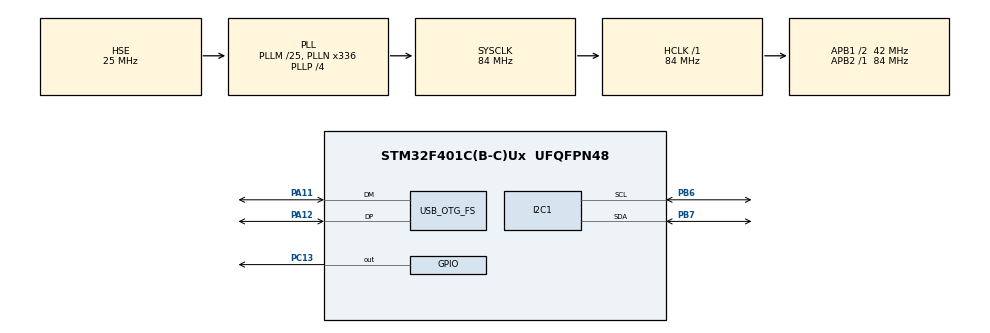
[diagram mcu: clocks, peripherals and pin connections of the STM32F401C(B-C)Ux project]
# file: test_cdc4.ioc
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I2C1.I2C_Mode=I2C_Fast
Mcu.Family=STM32F4
Mcu.Name=STM32F401C(B-C)Ux
Mcu.Package=UFQFPN48
NVIC.OTG_FS_IRQn=true\:0\:0\:false\:false\:true\:false\:true
NVIC.PriorityGroup=NVIC_PRIORITYGROUP_4
PA11.Mode=Device_Only
PA11.Signal=USB_OTG_FS_DM
PA12.Mode=Device_Only
PA12.Signal=USB_OTG_FS_DP
PB6.Mode=I2C
PB6.Signal=I2C1_SCL
PB7.Mode=I2C
PB7.Signal=I2C1_SDA
PC13-ANTI_TAMP.Signal=GPIO_Output
PH0\ -\ OSC_IN.Mode=HSE-External-Oscillator
PH0\ -\ OSC_IN.Signal=RCC_OSC_IN
PH1\ -\ OSC_OUT.Mode=HSE-External-Oscillator
PH1\ -\ OSC_OUT.Signal=RCC_OSC_OUT
ProjectManager.HeapSize=0x200
ProjectManager.StackSize=0x400
ProjectManager.TargetToolchain=STM32CubeIDE
RCC.48MHZClocksFreq_Value=48000000
RCC.AHBFreq_Value=84000000
RCC.APB1CLKDivider=RCC_HCLK_DIV2
RCC.APB1Freq_Value=42000000
RCC.APB1TimFreq_Value=84000000
RCC.APB2Freq_Value=84000000
RCC.APB2TimFreq_Value=84000000
RCC.CortexFreq_Value=84000000
RCC.HCLKFreq_Value=84000000
RCC.HSE_VALUE=25000000
RCC.HSI_VALUE=16000000
RCC.LSE_VALUE=32768
RCC.PLLM=25
RCC.PLLN=336
RCC.PLLP=RCC_PLLP_DIV4
RCC.PLLQ=7
RCC.SYSCLKFreq_VALUE=84000000
RCC.SYSCLKSource=RCC_SYSCLKSOURCE_PLLCLK
RCC.VCOOutputFreq_Value=336000000
USB_DEVICE.APP_RX_DATA_SIZE=64
USB_DEVICE.APP_TX_DATA_SIZE=64
USB_DEVICE.CLASS_NAME_FS=CDC
USB_DEVICE.VirtualMode=Cdc
USB_DEVICE.VirtualModeFS=Cdc_FS
USB_OTG_FS.VirtualMode=Device_Only
VP_USB_DEVICE_VS_USB_DEVICE_CDC_FS.Mode=CDC_FS
board=custom

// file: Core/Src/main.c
/* USER CODE BEGIN Header */
/**
  ******************************************************************************
  * @file           : main.c
  * @brief          : Main program body
  ******************************************************************************
  * @attention
  *
  * <h2><center>&copy; Copyright (c) 2020 STMicroelectronics.
  * All rights reserved.</center></h2>
  *
  * This software component is licensed by ST under BSD 3-Clause license,
  * the "License"; You may not use this file except in compliance with the
  * License. You may obtain a copy of the License at:
  *                        opensource.org/licenses/BSD-3-Clause
  *
  ******************************************************************************
  */
/* USER CODE END Header */
#include "main.h"
#include "usb_device.h"

/* USER CODE BEGIN Includes */
#include "OLED.h"
#include "terminal.h"
/* USER CODE END Includes */

I2C_HandleTypeDef hi2c1;

/* USER CODE BEGIN PV */
volatile uint8_t received = 0;
/* USER CODE END PV */

void SystemClock_Config(void);
static void MX_GPIO_Init(void);
static void MX_I2C1_Init(void);

int main(void)
{

  /* MCU Configuration--------------------------------------------------------*/

  /* Reset of all peripherals, Initializes the Flash interface and the Systick. */
  HAL_Init();

  /* Configure the system clock */
  SystemClock_Config();

  /* Initialize all configured peripherals */
  MX_GPIO_Init();
  MX_I2C1_Init();
  MX_USB_DEVICE_Init();
  /* USER CODE BEGIN 2 */

    TERM_Reset();

    /*
      i2c1
      PB6 SCL
      PB7 SDA

    */
    OLED_Init(&hi2c1);
    OLED_FontSet(Font_MSX_6x8_rus1251);
    OLED_SetContrast(1);
    OLED_Clear(0);
    OLED_FastDrawStr("OLED init OK", 0, 0, 0);
    OLED_UpdateScreen();
    HAL_Delay(300);
    OLED_Clear(0);
    OLED_UpdateScreen();

    //    OLED_FastDrawStr("ABCDEFGHIJ01234567890", 0, 0, 0);
    //    OLED_FastDrawStr("KLMNOPQRSTU0123456789", 0, 1, 0);
    //    OLED_FastDrawStr("012345678901234567890", 0, 2, 1);
    //    OLED_FastDrawStr("!@#$%^&*()-=+:;,.[]<>", 0, 3, 1);
    //    OLED_UpdateScreen();

    TERM_Display();

  /* USER CODE END 2 */

  /* Infinite loop */
  /* USER CODE BEGIN WHILE */
    while (1)
    {
        if (received)
        {
            HAL_Delay(40);
            TERM_Display();
            received = 0;
            //            HAL_Delay(1);
        }
    /* USER CODE END WHILE */

    }
}

void SystemClock_Config(void)
{
  RCC_OscInitTypeDef RCC_OscInitStruct = {0};
  RCC_ClkInitTypeDef RCC_ClkInitStruct = {0};

  /** Configure the main internal regulator output voltage
  */
  __HAL_RCC_PWR_CLK_ENABLE();
  __HAL_PWR_VOLTAGESCALING_CONFIG(PWR_REGULATOR_VOLTAGE_SCALE2);
  /** Initializes the RCC Oscillators according to the specified parameters
  * in the RCC_OscInitTypeDef structure.
  */
  RCC_OscInitStruct.OscillatorType = RCC_OSCILLATORTYPE_HSE;
  RCC_OscInitStruct.HSEState = RCC_HSE_ON;
  RCC_OscInitStruct.PLL.PLLState = RCC_PLL_ON;
  RCC_OscInitStruct.PLL.PLLSource = RCC_PLLSOURCE_HSE;
  RCC_OscInitStruct.PLL.PLLM = 25;
  RCC_OscInitStruct.PLL.PLLN = 336;
  RCC_OscInitStruct.PLL.PLLP = RCC_PLLP_DIV4;
  RCC_OscInitStruct.PLL.PLLQ = 7;
  if (HAL_RCC_OscConfig(&RCC_OscInitStruct) != HAL_OK)
  {
    Error_Handler();
  }
  /** Initializes the CPU, AHB and APB buses clocks
  */
  RCC_ClkInitStruct.ClockType = RCC_CLOCKTYPE_HCLK|RCC_CLOCKTYPE_SYSCLK
                              |RCC_CLOCKTYPE_PCLK1|RCC_CLOCKTYPE_PCLK2;
  RCC_ClkInitStruct.SYSCLKSource = RCC_SYSCLKSOURCE_PLLCLK;
  RCC_ClkInitStruct.AHBCLKDivider = RCC_SYSCLK_DIV1;
  RCC_ClkInitStruct.APB1CLKDivider = RCC_HCLK_DIV2;
  RCC_ClkInitStruct.APB2CLKDivider = RCC_HCLK_DIV1;

  if (HAL_RCC_ClockConfig(&RCC_ClkInitStruct, FLASH_LATENCY_2) != HAL_OK)
  {
    Error_Handler();
  }
}

static void MX_I2C1_Init(void)
{

  hi2c1.Instance = I2C1;
  hi2c1.Init.ClockSpeed = 400000;
  hi2c1.Init.DutyCycle = I2C_DUTYCYCLE_2;
  hi2c1.Init.OwnAddress1 = 0;
  hi2c1.Init.AddressingMode = I2C_ADDRESSINGMODE_7BIT;
  hi2c1.Init.DualAddressMode = I2C_DUALADDRESS_DISABLE;
  hi2c1.Init.OwnAddress2 = 0;
  hi2c1.Init.GeneralCallMode = I2C_GENERALCALL_DISABLE;
  hi2c1.Init.NoStretchMode = I2C_NOSTRETCH_DISABLE;
  if (HAL_I2C_Init(&hi2c1) != HAL_OK)
  {
    Error_Handler();
  }

}

static void MX_GPIO_Init(void)
{
  GPIO_InitTypeDef GPIO_InitStruct = {0};

  /* GPIO Ports Clock Enable */
  __HAL_RCC_GPIOC_CLK_ENABLE();
  __HAL_RCC_GPIOH_CLK_ENABLE();
  __HAL_RCC_GPIOA_CLK_ENABLE();
  __HAL_RCC_GPIOB_CLK_ENABLE();

  /*Configure GPIO pin Output Level */
  HAL_GPIO_WritePin(GPIOC, GPIO_PIN_13, GPIO_PIN_RESET);

  /*Configure GPIO pin : PC13 */
  GPIO_InitStruct.Pin = GPIO_PIN_13;
  GPIO_InitStruct.Mode = GPIO_MODE_OUTPUT_PP;
  GPIO_InitStruct.Pull = GPIO_NOPULL;
  GPIO_InitStruct.Speed = GPIO_SPEED_FREQ_LOW;
  HAL_GPIO_Init(GPIOC, &GPIO_InitStruct);

}

void Error_Handler(void)
{
}

/************************ (C) COPYRIGHT STMicroelectronics *****END OF FILE****/
